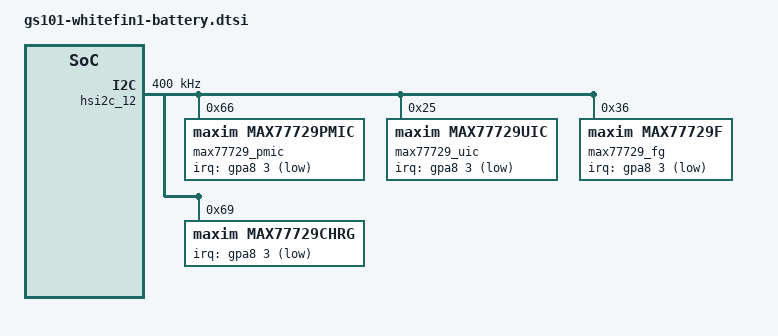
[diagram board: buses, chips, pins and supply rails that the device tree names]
// SPDX-License-Identifier: GPL-2.0-only
/*
 * Battery device tree entries specific to Whitefin
 *
 * Copyright 2020 Google,LLC
 *
 */

&pinctrl_0 {
/* [MAX77759: FG_INTB] > FG_INT_L > [XEINT_23 : SC59845XWE] */
	if_pmic_fg_irq: if-pmic-fg-irq {
		samsung,pins = "gpa9-3"; /* XEINT_23 */
		samsung,pin-function = <EXYNOS_PIN_FUNC_EINT>;
		samsung,pin-pud = <EXYNOS_PIN_PULL_UP>;
		samsung,pin-drv = <GS101_PIN_DRV_2_5_MA>;
	};

};

&pinctrl_1 {
/* [MAX77729FEWN : INTB] > IF_PMIC_IRQ_L > [XEINT_15 : SC59845XWE] */
	if_pmic_irq: if-pmic-irq {
		samsung,pins = "gpa8-3";
		samsung,pin-function = <EXYNOS_PIN_FUNC_EINT>;
		samsung,pin-pud = <EXYNOS_PIN_PULL_UP>;
		samsung,pin-drv = <GS101_PIN_DRV_2_5_MA>;
	};
};

&hsi2c_12{

	#address-cells = <1>;
	#size-cells = <0>;
	status = "okay";
	clock-frequency = <400000>;

	max77729_pmic:max77729pmic@0x66 {
		status = "okay";
		compatible = "maxim,max77729pmic";
		reg = <0x66>;

		pinctrl-names = "default";
		pinctrl-0 = <&if_pmic_irq>;
		max777x9,irq-gpio = <&gpa8 3 GPIO_ACTIVE_LOW>;

		max777x9_gpio: max777x9_gpio {
			gpio-controller;
			#gpio-cells = <2>;
			ngpios = <6>;
		};
	};

	max77729_uic:max77729uic@0x25 {
		status = "okay";
		compatible = "maxim,max77729uic";
		reg = <0x25>;

		max77729,irq-gpio = <&gpa8 3 GPIO_ACTIVE_LOW>;
		bc1_config = <0xe5>;
		usb-psy-name = "usb";
	};

	max77729_fg:max77729fg@0x36 {
		status = "okay";
		compatible = "maxim,max77729f";
		reg = <0x36>;

		/* IF_PMIC_IRQ_L -> XEINT_15 */
		maxim,irq-gpio = <&gpa8 3 GPIO_ACTIVE_LOW>;
		maxim,irqf-shared;

		maxim,rsense-default = <500>;

		/* no needed for EEPROM */
		maxim,batt-id-range-pct = <0>;

		maxim,psy-type-unknown;

		maxim,fg-data {
			#include "gs101-slider-battery-data.dtsi"
		};
	};

	max77729chrg@0x69 {
		status = "okay";
		compatible = "maxim,max77729chrg";
		reg = <0x69>;

		max77729,irq-gpio = <&gpa8 3 GPIO_ACTIVE_LOW>;
		max77729,psy-name = "main-charger";
	};

};
